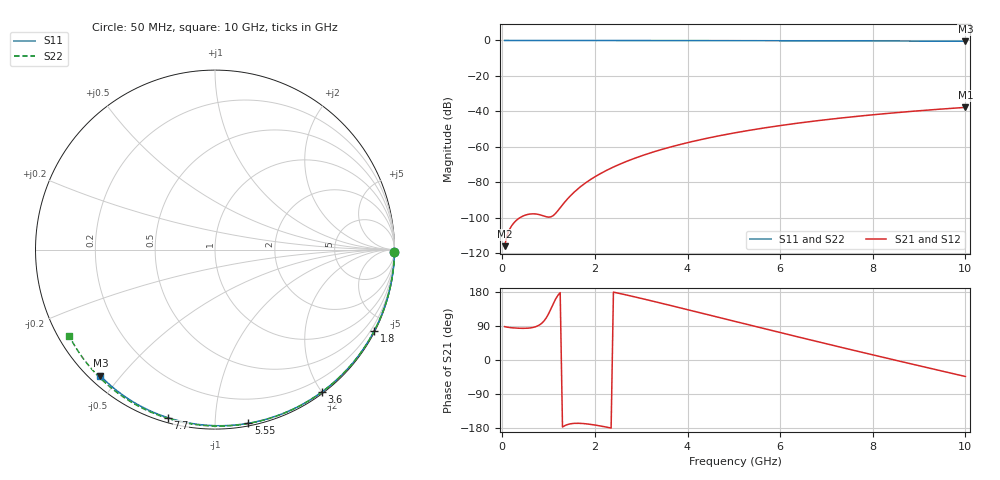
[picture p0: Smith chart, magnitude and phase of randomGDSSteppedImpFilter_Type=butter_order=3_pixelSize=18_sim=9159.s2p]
! freq	dB(S11)	phase(S11)	dB(S12)	phase(S12)
!  dB(S21)	phase(S21)	dB(S22)	phase(S22)
!S-par simulation data
#  GHz  S  DB  R 50
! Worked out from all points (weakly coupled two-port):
!   200 points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, 50 MHz to 10 GHz, reference 50 ohm
!   highest |S21| = -37.75 dB at 10 GHz (marker M1); lowest = -116.0 dB at 50 MHz (marker M2)
!   lowest |S11| = -0.4 dB at 10 GHz (marker M3), VSWR 38.77, Z = 1.54 - j22.1 ohm
!   |S11| at or under -10 dB: nowhere
!   |S22| runs from -0.5 to 0.0 dB; largest |S21 - S12| = 0
!   S11 on the Smith chart (normalised r, x): 50 MHz: open; 1.8 GHz: 0.04, -4.15; 3.6 GHz: 0.02, -2.01; 5.55 GHz: 0.02, -1.21; 7.7 GHz: 0.02, -0.76; 10 GHz: 0.03, -0.44
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0.05  -0.00 -0.8  -116.05 88.1  -116.05 88.1  -0.00 -0.9
0.45  -0.01 -6.9  -99.01 83.6  -99.01 83.6  -0.01 -7.8
0.9  -0.02 -13.7  -99.05 102.9  -99.05 102.9  -0.02 -15.5
1.3  -0.02 -19.7  -92.72 -176.9  -92.72 -176.9  -0.03 -22.3
1.75  -0.03 -26.4  -81.27 -167.7  -81.27 -167.7  -0.04 -29.9
1.8  -0.03 -27.1  -80.32 -168.3  -80.32 -168.3  -0.04 -30.7
1.85  -0.04 -27.8  -79.41 -169.0  -79.41 -169.0  -0.04 -31.5
2  -0.04 -30.0  -76.90 -171.6  -76.90 -171.6  -0.04 -34.0
2.15  -0.04 -32.2  -74.67 -174.8  -74.67 -174.8  -0.05 -36.5
2.5  -0.05 -37.3  -70.23 176.5  -70.23 176.5  -0.05 -42.2
2.9  -0.06 -43.1  -66.07 165.4  -66.07 165.4  -0.06 -48.7
3.4  -0.07 -50.2  -61.82 150.8  -61.82 150.8  -0.07 -56.7
3.6  -0.07 -53.0  -60.33 144.9  -60.33 144.9  -0.08 -59.8
4.3  -0.09 -62.6  -55.86 123.8  -55.86 123.8  -0.10 -70.6
5.05  -0.11 -72.6  -51.98 101.1  -51.98 101.1  -0.12 -81.8
5.55  -0.13 -79.1  -49.78 86.0  -49.78 86.0  -0.15 -89.0
6.1  -0.15 -86.1  -47.65 69.5  -47.65 69.5  -0.17 -96.9
6.7  -0.18 -93.6  -45.60 51.6  -45.60 51.6  -0.20 -105.2
7.7  -0.24 -105.7  -42.70 22.2  -42.70 22.2  -0.27 -118.8
8.35  -0.29 -113.3  -41.09 3.4  -41.09 3.4  -0.33 -127.4
9.2  -0.36 -123.1  -39.25 -20.9  -39.25 -20.9  -0.41 -138.7
10  -0.45 -132.3  -37.75 -43.5  -37.75 -43.5  -0.50 -149.3
